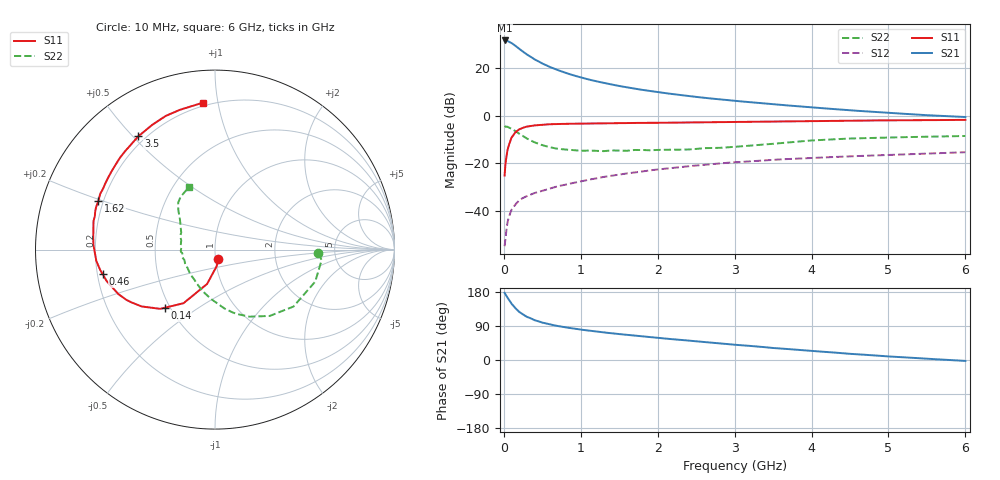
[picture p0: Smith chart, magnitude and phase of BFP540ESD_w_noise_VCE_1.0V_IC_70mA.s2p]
! Infineon Technologies  Discrete & RF Semiconductors
! BFP540ESD
! VCE =  1.0 V,  IC =  70 mA
! Common Emitter S-Parameters:  Nov 2015
# GHz  S  MA  R  50
!  f  S11  S21  S12  S22
! GHz  MAG  ANG  MAG  ANG  MAG  ANG  MAG  ANG
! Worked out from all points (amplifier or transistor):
!   210 points, 10 MHz to 6 GHz, reference 50 ohm
!   highest |S21| = 31.7 dB at 10 MHz (marker M1)
!   |S21| within 3 dB of that: start of sweep to 179.7 MHz
!   unconditionally stable (mu >= 1): start of sweep to 84.9 MHz; 641.6 MHz to end of sweep
!   at 185 MHz: K = 0.75, MSG = 32.4 dB, |S12| = -36.1 dB
!   at 1.52 GHz: K = 1.21, MAG = 15.8 dB, |S12| = -24.6 dB
!   at 6 GHz: K = 1.25, MAG = 4.4 dB, |S12| = -15.3 dB
!   lowest NFmin = 2.19 dB at 900 MHz
!   S11 on the Smith chart (normalised r, x): 10 MHz: 1.03, -0.11; 140 MHz: 0.47, -0.37; 460 MHz: 0.22, -0.10; 1.62 GHz: 0.18, +0.19; 3.5 GHz: 0.17, +0.52; 6 GHz: 0.18, +0.90
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0.01  0.0552 -69.7  38.56 177.1  0.0018 75.8  0.5767 -2.0
0.05  0.1964 -103.0  37.57 163.7  0.0059 69.1  0.5863 -17.7
0.1  0.3462 -120.4  34.16 148.4  0.0105 65.8  0.54 -36.0
0.14  0.4277 -130.8  30.54 139.1  0.013 61.5  0.4886 -47.3
0.15  0.4498 -132.8  29.78 136.4  0.0136 60.7  0.4791 -50.5
0.2  0.5177 -142.3  25.77 126.9  0.0165 57.7  0.4201 -62.8
0.24  0.5532 -148.1  22.99 121.2  0.0183 55.4  0.3819 -70.5
0.28  0.5801 -153.0  20.63 116.3  0.0197 54.5  0.3482 -77.3
0.3  0.5928 -155.3  19.55 113.8  0.0203 54.2  0.3328 -80.8
0.4  0.6285 -163.8  15.41 105.0  0.0237 53.8  0.2762 -94.5
0.46  0.6407 -167.6  13.72 101.5  0.0253 54.3  0.2537 -101.5
0.6  0.6644 -174.7  10.64 93.8  0.0294 55.8  0.2178 -116.5
0.7  0.6704 -178.8  9.188 89.6  0.0328 56.2  0.2021 -125.3
1.02  0.6857 171.2  6.302 79.7  0.0422 56.9  0.1842 -147.8
1.3  0.695 164.4  4.928 72.8  0.0517 56.6  0.1803 -161.6
1.62  0.7038 157.5  3.925 65.9  0.0619 55.1  0.1848 -174.4
2.02  0.7125 149.9  3.116 58.0  0.0747 52.4  0.1917 174.9
3.1  0.7453 130.7  1.999 38.8  0.1076 42.8  0.2286 146.7
3.5  0.7624 124.0  1.748 31.7  0.1189 38.6  0.2575 139.3
4.1  0.7803 115.4  1.462 22.5  0.1316 32.4  0.3083 131.6
5.1  0.8039 103.1  1.128 8.3  0.1519 23.0  0.3523 122.2
6  0.8214 94.7  0.942 -2.4  0.171 15.6  0.3758 112.4
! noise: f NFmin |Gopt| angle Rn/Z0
0.9  2.19  0.56  -140  0.19
1.8  2.37  0.58  -141  0.19
2.4  2.45  0.6  -131  0.27
3  2.62  0.61  -121  0.38
4  2.73  0.68  -101  0.74
5  2.88  0.76  -86  1.12
6  3.49  0.68  -82  1.8
